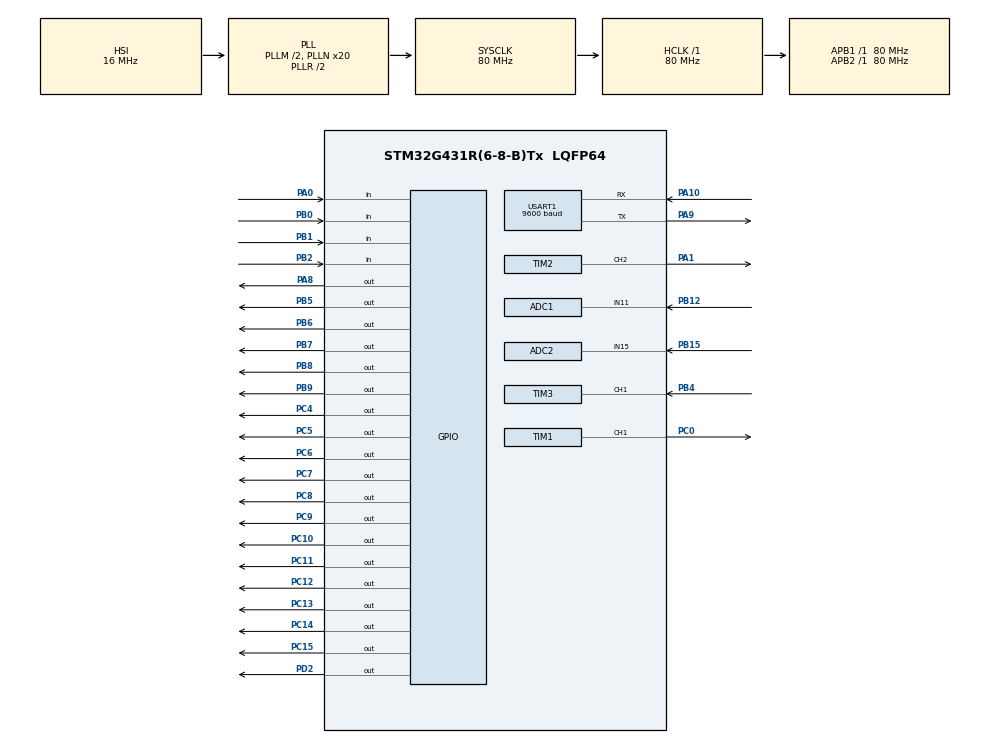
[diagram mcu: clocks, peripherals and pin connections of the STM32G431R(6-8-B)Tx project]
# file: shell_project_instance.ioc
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ADC1.Channel-2\#ChannelRegularConversion=ADC_CHANNEL_11
ADC1.ClockPrescaler=ADC_CLOCK_SYNC_PCLK_DIV4
ADC1.ContinuousConvMode=ENABLE
ADC1.DMAContinuousRequests=ENABLE
ADC1.NbrOfConversionFlag=1
ADC1.OffsetNumber-2\#ChannelRegularConversion=ADC_OFFSET_NONE
ADC1.Rank-2\#ChannelRegularConversion=1
ADC1.SamplingTime-2\#ChannelRegularConversion=ADC_SAMPLETIME_2CYCLES_5
ADC1.master=1
ADC2.Channel-2\#ChannelRegularConversion=ADC_CHANNEL_15
ADC2.ClockPrescaler=ADC_CLOCK_SYNC_PCLK_DIV4
ADC2.ContinuousConvMode=ENABLE
ADC2.DMAContinuousRequests=ENABLE
ADC2.NbrOfConversionFlag=1
ADC2.OffsetNumber-2\#ChannelRegularConversion=ADC_OFFSET_NONE
ADC2.Rank-2\#ChannelRegularConversion=1
ADC2.SamplingTime-2\#ChannelRegularConversion=ADC_SAMPLETIME_2CYCLES_5
Dma.ADC1.1.Direction=DMA_PERIPH_TO_MEMORY
Dma.ADC1.1.EventEnable=DISABLE
Dma.ADC1.1.Instance=DMA1_Channel2
Dma.ADC1.1.MemDataAlignment=DMA_MDATAALIGN_WORD
Dma.ADC1.1.MemInc=DMA_MINC_ENABLE
Dma.ADC1.1.Mode=DMA_CIRCULAR
Dma.ADC1.1.PeriphDataAlignment=DMA_PDATAALIGN_WORD
Dma.ADC1.1.PeriphInc=DMA_PINC_DISABLE
Dma.ADC1.1.Polarity=HAL_DMAMUX_REQ_GEN_RISING
Dma.ADC1.1.Priority=DMA_PRIORITY_MEDIUM
Dma.ADC1.1.RequestNumber=1
Dma.ADC1.1.SignalID=NONE
Dma.ADC1.1.SyncEnable=DISABLE
Dma.ADC1.1.SyncPolarity=HAL_DMAMUX_SYNC_NO_EVENT
Dma.ADC1.1.SyncRequestNumber=1
Dma.ADC1.1.SyncSignalID=NONE
Dma.ADC2.2.Direction=DMA_PERIPH_TO_MEMORY
Dma.ADC2.2.EventEnable=DISABLE
Dma.ADC2.2.Instance=DMA1_Channel3
Dma.ADC2.2.MemDataAlignment=DMA_MDATAALIGN_WORD
Dma.ADC2.2.MemInc=DMA_MINC_ENABLE
Dma.ADC2.2.Mode=DMA_CIRCULAR
Dma.ADC2.2.PeriphDataAlignment=DMA_PDATAALIGN_WORD
Dma.ADC2.2.PeriphInc=DMA_PINC_DISABLE
Dma.ADC2.2.Polarity=HAL_DMAMUX_REQ_GEN_RISING
Dma.ADC2.2.Priority=DMA_PRIORITY_MEDIUM
Dma.ADC2.2.RequestNumber=1
Dma.ADC2.2.SignalID=NONE
Dma.ADC2.2.SyncEnable=DISABLE
Dma.ADC2.2.SyncPolarity=HAL_DMAMUX_SYNC_NO_EVENT
Dma.ADC2.2.SyncRequestNumber=1
Dma.ADC2.2.SyncSignalID=NONE
Dma.Request0=USART1_RX
Dma.Request1=ADC1
Dma.Request2=ADC2
Dma.Request3=TIM3_CH1
Dma.TIM3_CH1.3.Direction=DMA_PERIPH_TO_MEMORY
Dma.TIM3_CH1.3.EventEnable=DISABLE
Dma.TIM3_CH1.3.Instance=DMA1_Channel4
Dma.TIM3_CH1.3.MemDataAlignment=DMA_MDATAALIGN_WORD
Dma.TIM3_CH1.3.MemInc=DMA_MINC_ENABLE
Dma.TIM3_CH1.3.Mode=DMA_CIRCULAR
Dma.TIM3_CH1.3.PeriphDataAlignment=DMA_PDATAALIGN_WORD
Dma.TIM3_CH1.3.PeriphInc=DMA_PINC_DISABLE
Dma.TIM3_CH1.3.Polarity=HAL_DMAMUX_REQ_GEN_RISING
Dma.TIM3_CH1.3.Priority=DMA_PRIORITY_LOW
Dma.TIM3_CH1.3.RequestNumber=1
Dma.TIM3_CH1.3.SignalID=NONE
Dma.TIM3_CH1.3.SyncEnable=DISABLE
Dma.TIM3_CH1.3.SyncPolarity=HAL_DMAMUX_SYNC_NO_EVENT
Dma.TIM3_CH1.3.SyncRequestNumber=1
Dma.TIM3_CH1.3.SyncSignalID=NONE
Dma.USART1_RX.0.Direction=DMA_PERIPH_TO_MEMORY
Dma.USART1_RX.0.EventEnable=DISABLE
Dma.USART1_RX.0.Instance=DMA1_Channel1
Dma.USART1_RX.0.MemDataAlignment=DMA_MDATAALIGN_BYTE
Dma.USART1_RX.0.MemInc=DMA_MINC_ENABLE
Dma.USART1_RX.0.Mode=DMA_NORMAL
Dma.USART1_RX.0.PeriphDataAlignment=DMA_PDATAALIGN_BYTE
Dma.USART1_RX.0.PeriphInc=DMA_PINC_DISABLE
Dma.USART1_RX.0.Polarity=HAL_DMAMUX_REQ_GEN_RISING
Dma.USART1_RX.0.Priority=DMA_PRIORITY_HIGH
Dma.USART1_RX.0.RequestNumber=1
Dma.USART1_RX.0.SignalID=NONE
Dma.USART1_RX.0.SyncEnable=DISABLE
Dma.USART1_RX.0.SyncPolarity=HAL_DMAMUX_SYNC_NO_EVENT
Dma.USART1_RX.0.SyncRequestNumber=1
Dma.USART1_RX.0.SyncSignalID=NONE
Mcu.Family=STM32G4
Mcu.Name=STM32G431R(6-8-B)Tx
Mcu.Package=LQFP64
NVIC.DMA1_Channel1_IRQn=true\:1\:0\:true\:false\:true\:false\:true\:true
NVIC.DMA1_Channel2_IRQn=true\:1\:0\:true\:false\:true\:false\:true\:true
NVIC.DMA1_Channel3_IRQn=true\:1\:0\:true\:false\:true\:false\:true\:true
NVIC.DMA1_Channel4_IRQn=true\:1\:0\:true\:false\:true\:false\:true\:true
NVIC.PriorityGroup=NVIC_PRIORITYGROUP_4
NVIC.USART1_IRQn=true\:1\:0\:true\:false\:true\:true\:true\:true
PA0.GPIO_PuPd=GPIO_PULLUP
PA0.Signal=GPIO_Input
PA1.Signal=S_TIM2_CH2
PA10.Mode=Asynchronous
PA10.Signal=USART1_RX
PA8.Signal=GPIO_Output
PA9.Mode=Asynchronous
PA9.Signal=USART1_TX
PB0.GPIO_PuPd=GPIO_PULLUP
PB0.Signal=GPIO_Input
PB1.GPIO_PuPd=GPIO_PULLUP
PB1.Signal=GPIO_Input
PB12.Mode=IN11-Single-Ended
PB12.Signal=ADC1_IN11
PB15.Mode=IN15-Single-Ended
PB15.Signal=ADC2_IN15
PB2.GPIO_PuPd=GPIO_PULLUP
PB2.Signal=GPIO_Input
PB4.Signal=S_TIM3_CH1
PB5.Signal=GPIO_Output
PB6.GPIO_PuPd=GPIO_PULLUP
PB6.GPIO_Speed=GPIO_SPEED_FREQ_VERY_HIGH
PB6.Signal=GPIO_Output
PB7.GPIO_PuPd=GPIO_PULLUP
PB7.GPIO_Speed=GPIO_SPEED_FREQ_VERY_HIGH
PB7.Signal=GPIO_Output
PB8-BOOT0.Signal=GPIO_Output
PB9.Signal=GPIO_Output
PC0.Signal=S_TIM1_CH1
PC10.PinState=GPIO_PIN_SET
PC10.Signal=GPIO_Output
PC11.PinState=GPIO_PIN_SET
PC11.Signal=GPIO_Output
PC12.PinState=GPIO_PIN_SET
PC12.Signal=GPIO_Output
PC13.PinState=GPIO_PIN_SET
PC13.Signal=GPIO_Output
PC14-OSC32_IN.PinState=GPIO_PIN_SET
PC14-OSC32_IN.Signal=GPIO_Output
PC15-OSC32_OUT.PinState=GPIO_PIN_SET
PC15-OSC32_OUT.Signal=GPIO_Output
PC4.Signal=GPIO_Output
PC5.Signal=GPIO_Output
PC6.Signal=GPIO_Output
PC7.Signal=GPIO_Output
PC8.PinState=GPIO_PIN_SET
PC8.Signal=GPIO_Output
PC9.PinState=GPIO_PIN_SET
PC9.Signal=GPIO_Output
PD2.PinState=GPIO_PIN_RESET
PD2.Signal=GPIO_Output
PF0-OSC_IN.Mode=HSE-External-Oscillator
PF0-OSC_IN.Signal=RCC_OSC_IN
PF1-OSC_OUT.Mode=HSE-External-Oscillator
PF1-OSC_OUT.Signal=RCC_OSC_OUT
ProjectManager.HeapSize=0x200
ProjectManager.StackSize=0x400
ProjectManager.TargetToolchain=MDK-ARM V5
RCC.ADC12Freq_Value=80000000
RCC.AHBFreq_Value=80000000
RCC.APB1Freq_Value=80000000
RCC.APB1TimFreq_Value=80000000
RCC.APB2Freq_Value=80000000
RCC.APB2TimFreq_Value=80000000
RCC.CortexFreq_Value=80000000
RCC.EXTERNAL_CLOCK_VALUE=12288000
RCC.HCLKFreq_Value=80000000
RCC.HSE_VALUE=24000000
RCC.HSI48_VALUE=48000000
RCC.HSI_VALUE=16000000
RCC.LSE_VALUE=32768
RCC.PLLM=RCC_PLLM_DIV2
RCC.PLLN=20
RCC.SYSCLKFreq_VALUE=80000000
RCC.SYSCLKSource=RCC_SYSCLKSOURCE_PLLCLK
RCC.USBFreq_Value=80000000
RCC.VCOOutputFreq_Value=160000000
RTC.AsynchPrediv=127
RTC.Format=RTC_FORMAT_BIN
RTC.Hours=23
RTC.Minutes=59
RTC.Seconds=55
RTC.SynchPrediv=255
SH.S_TIM1_CH1.0=TIM1_CH1,PWM Generation1 CH1
SH.S_TIM2_CH2.0=TIM2_CH2,PWM Generation2 CH2
SH.S_TIM3_CH1.0=TIM3_CH1,TriggerSource_TI1FP1
SH.S_TIM3_CH1.1=TIM3_CH1,Input_Capture1_from_TI1
TIM1.Channel-PWM\ Generation1\ CH1=TIM_CHANNEL_1
TIM1.PeriodNoDither=1000-1
TIM1.Prescaler=170-1
TIM1.PulseNoDither_1=50
TIM2.Channel-PWM\ Generation2\ CH2=TIM_CHANNEL_2
TIM2.PeriodNoDither=1000-1
TIM2.Prescaler=170-1
TIM2.PulseNoDither_2=50
TIM3.Channel-Input_Capture1_from_TI1=TIM_CHANNEL_1
TIM3.PeriodNoDither=65535
TIM3.Prescaler=80-1
USART1.BaudRate=9600
USART1.VirtualMode-Asynchronous=VM_ASYNC
VP_RTC_VS_RTC_Activate.Mode=RTC_Enabled
VP_RTC_VS_RTC_Calendar.Mode=RTC_Calendar
VP_SYS_VS_DBSignals.Mode=DisableDeadBatterySignals
VP_TIM1_VS_ClockSourceINT.Mode=Internal
VP_TIM2_VS_ClockSourceINT.Mode=Internal
VP_TIM3_VS_ClockSourceINT.Mode=Internal
VP_TIM3_VS_ControllerModeReset.Mode=Reset Mode
board=custom

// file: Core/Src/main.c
/* USER CODE BEGIN Header */
/**
  ******************************************************************************
  * @file           : main.c
  * @brief          : Main program body
  ******************************************************************************
  * @attention
  *
  * Copyright (c) 2024 STMicroelectronics.
  * All rights reserved.
  *
  * This software is licensed under terms that can be found in the LICENSE file
  * in the root directory of this software component.
  * If no LICENSE file comes with this software, it is provided AS-IS.
  *
  ******************************************************************************
  */
/* USER CODE END Header */
#include "main.h"
#include "adc.h"
#include "dma.h"
#include "rtc.h"
#include "tim.h"
#include "usart.h"
#include "gpio.h"

/* USER CODE BEGIN Includes */
#include "bsp_system.h"
/* USER CODE END Includes */

void SystemClock_Config(void);

int main(void)
{

  /* MCU Configuration--------------------------------------------------------*/

  /* Reset of all peripherals, Initializes the Flash interface and the Systick. */
  HAL_Init();

  /* Configure the system clock */
  SystemClock_Config();

  /* Initialize all configured peripherals */
  MX_GPIO_Init();
  MX_DMA_Init();
  MX_USART1_UART_Init();
  MX_ADC1_Init();
  MX_ADC2_Init();
  MX_RTC_Init();
  MX_TIM1_Init();
  MX_TIM3_Init();
  MX_TIM2_Init();
  /* USER CODE BEGIN 2 */
  system_init();
  key_init();
	ringbuffer_init(&usart_rb);
  HAL_ADC_Start_DMA(&hadc1,(uint32_t*)&dma_buff[0][0],30);
  HAL_ADC_Start_DMA(&hadc2,(uint32_t*)&dma_buff[1][0],30);
  HAL_TIM_IC_Start_DMA(&htim3,TIM_CHANNEL_1,tim_ic_buffer,64);
  HAL_TIM_PWM_Start(&htim1,TIM_CHANNEL_1);
  HAL_TIM_PWM_Start(&htim2,TIM_CHANNEL_2);

  LCD_Init();
  LCD_Clear(Black);
  LCD_SetTextColor(White);
  LCD_SetBackColor(Black);

  persist_init();         /* 初始化掉电保存模块，恢复保存的数据 */

  shell_init();           /* 初始化Shell核心 */
  shell_commands_init();  /* 注册所有Shell命令 */
  scheduler_init();
  /* USER CODE END 2 */

  /* Infinite loop */
  while (1)
  {

    /* USER CODE BEGIN 3 */
    scheduler_run();
  }
  /* USER CODE END 3 */
}

void SystemClock_Config(void)
{
  RCC_OscInitTypeDef RCC_OscInitStruct = {0};
  RCC_ClkInitTypeDef RCC_ClkInitStruct = {0};

  /** Configure the main internal regulator output voltage
  */
  HAL_PWREx_ControlVoltageScaling(PWR_REGULATOR_VOLTAGE_SCALE1);

  /** Initializes the RCC Oscillators according to the specified parameters
  * in the RCC_OscInitTypeDef structure.
  */
  RCC_OscInitStruct.OscillatorType = RCC_OSCILLATORTYPE_HSI|RCC_OSCILLATORTYPE_LSI;
  RCC_OscInitStruct.HSIState = RCC_HSI_ON;
  RCC_OscInitStruct.HSICalibrationValue = RCC_HSICALIBRATION_DEFAULT;
  RCC_OscInitStruct.LSIState = RCC_LSI_ON;
  RCC_OscInitStruct.PLL.PLLState = RCC_PLL_ON;
  RCC_OscInitStruct.PLL.PLLSource = RCC_PLLSOURCE_HSI;
  RCC_OscInitStruct.PLL.PLLM = RCC_PLLM_DIV2;
  RCC_OscInitStruct.PLL.PLLN = 20;
  RCC_OscInitStruct.PLL.PLLP = RCC_PLLP_DIV2;
  RCC_OscInitStruct.PLL.PLLQ = RCC_PLLQ_DIV2;
  RCC_OscInitStruct.PLL.PLLR = RCC_PLLR_DIV2;
  if (HAL_RCC_OscConfig(&RCC_OscInitStruct) != HAL_OK)
  {
    Error_Handler();
  }

  /** Initializes the CPU, AHB and APB buses clocks
  */
  RCC_ClkInitStruct.ClockType = RCC_CLOCKTYPE_HCLK|RCC_CLOCKTYPE_SYSCLK
                              |RCC_CLOCKTYPE_PCLK1|RCC_CLOCKTYPE_PCLK2;
  RCC_ClkInitStruct.SYSCLKSource = RCC_SYSCLKSOURCE_PLLCLK;
  RCC_ClkInitStruct.AHBCLKDivider = RCC_SYSCLK_DIV1;
  RCC_ClkInitStruct.APB1CLKDivider = RCC_HCLK_DIV1;
  RCC_ClkInitStruct.APB2CLKDivider = RCC_HCLK_DIV1;

  if (HAL_RCC_ClockConfig(&RCC_ClkInitStruct, FLASH_LATENCY_2) != HAL_OK)
  {
    Error_Handler();
  }
}

void Error_Handler(void)
{
  __disable_irq();
  while (1)
  {
  }
}
